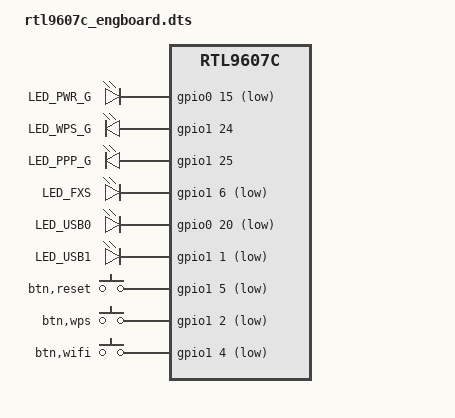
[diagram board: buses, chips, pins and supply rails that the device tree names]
/*
 * Realtek Semiconductor Corp.
 *
 * Device Tree Structure
 *
 * Tony Wu (tonywu@realtek.com)
 */

/dts-v1/;

#include "rtl9607c_soc.dtsi"
#include <dt-bindings/gpio/gpio.h>
#include <dt-bindings/input/input.h>
#ifndef CONFIG_LUNA_MEMORY_AUTO_DETECTION
/*#include "memory.dts"*/
#endif
/ {
	compatible = "rtk,9607c";
	#address-cells = <1>;
	#size-cells = <1>;

	leds {
		compatible = "gpio-leds";
		led_pwr_g {
			label = "LED_PWR_G";
			gpios = <&gpio0 15 GPIO_ACTIVE_LOW>;
			default-state = "on";
		};
		led_wps_g {
			label = "LED_WPS_G";
			gpios = <&gpio1 24 GPIO_ACTIVE_HIGH>;
		};
		led_ppp_g {
			label = "LED_PPP_G";
			gpios = <&gpio1 25 GPIO_ACTIVE_HIGH>;
			default-state = "off";
		};
		led_fxs {
			label = "LED_FXS";
			gpios = <&gpio1 6 GPIO_ACTIVE_LOW>;
		};
		led_usb0 {
			label = "LED_USB0";
			gpios = <&gpio0 20 GPIO_ACTIVE_LOW>;
			linux,default-trigger = "usbdev";
		};
		led_usb1 {
			label = "LED_USB1";
			gpios = <&gpio1 1 GPIO_ACTIVE_LOW>;
			linux,default-trigger = "usbdev";
		};
	};

	leds_gpio_number {
		LED_EPHY0 {
			linux,led_gpio = "8";
		};
		LED_EPHY1 {
			linux,led_gpio = "9";
		};
		LED_EPHY2 {
			linux,led_gpio = "35";
		};
		LED_EPHY3 {
			linux,led_gpio = "12";
		};
		LED_PON {
			linux,led_gpio = "10";
		};
		LED_LOS {
			linux,led_gpio = "21";
		};
	};

	gpio-keys {
		/*compatible = "gpio-keys-polled";
		poll-interval = <100>;*/
		compatible = "gpio-keys";
                autorepeat;

		btn_reset {
			label = "btn,reset";
			gpios = <&gpio1 5 GPIO_ACTIVE_LOW>;
			linux,code = <KEY_RESTART>;
		};

		btn_wps {
			label = "btn,wps";
			gpios = <&gpio1 2 GPIO_ACTIVE_LOW>;
			linux,code = <KEY_WPS_BUTTON>;
		};

		btn_wifi {
			label = "btn,wifi";
			gpios = <&gpio1 4 GPIO_ACTIVE_LOW>;
			linux,code = <KEY_WLAN>;
		};
	};

	board_setting {
		pci0_gpio_rst = <&gpio1 8 GPIO_ACTIVE_HIGH>;
		pci1_gpio_rst = <&gpio1 7 GPIO_ACTIVE_HIGH>;
	};

	gpio-reset {
		compatible = "linux,gpio-reset";
		pcie0_pwr_reset: pcie0_pwr_reset {
			#reset-cells = <0>;
			gpios = <&gpio1 28 0>;
			asserted-state = <0>;
			duration-ms = <100>;
		};
	};
};

&gic {
	timer {
		compatible = "mti,gic-timer";
		interrupts = <GIC_LOCAL 1 IRQ_TYPE_NONE>;
		clocks = <&apro_soc_clk 0>;
		clock-frequency = <900000000>;
	};
};

&uart0 {
	interrupt-parent = <&gic>;
	interrupts = <GIC_SHARED GIC_EXT_UART0 IRQ_TYPE_LEVEL_HIGH>;
};

/*
&uart1 {
	interrupt-parent = <&gic>;
	interrupts = <GIC_SHARED GIC_EXT_UART1 IRQ_TYPE_LEVEL_HIGH>;
};

&uart2 {
	interrupt-parent = <&gic>;
	interrupts = <GIC_SHARED GIC_EXT_UART2 IRQ_TYPE_LEVEL_HIGH>;
};
*/

/* FIXME Disable for early development
&eth0 {
	interrupt-parent = <&gic>;
	interrupts = <GIC_SHARED 9 IRQ_TYPE_LEVEL_HIGH>;
};

&gmac {
	interrupt-parent = <&gic>;
	interrupts = <GIC_SHARED 9 IRQ_TYPE_LEVEL_HIGH>;
};

&usb {
	interrupt-parent = <&gic>;
	interrupts = <GIC_SHARED 8 IRQ_TYPE_LEVEL_HIGH>;
};

&hdmi0 {
	interrupt-parent = <&gic>;
	interrupts = <GIC_SHARED 13 IRQ_TYPE_LEVEL_HIGH>;
};
*/
